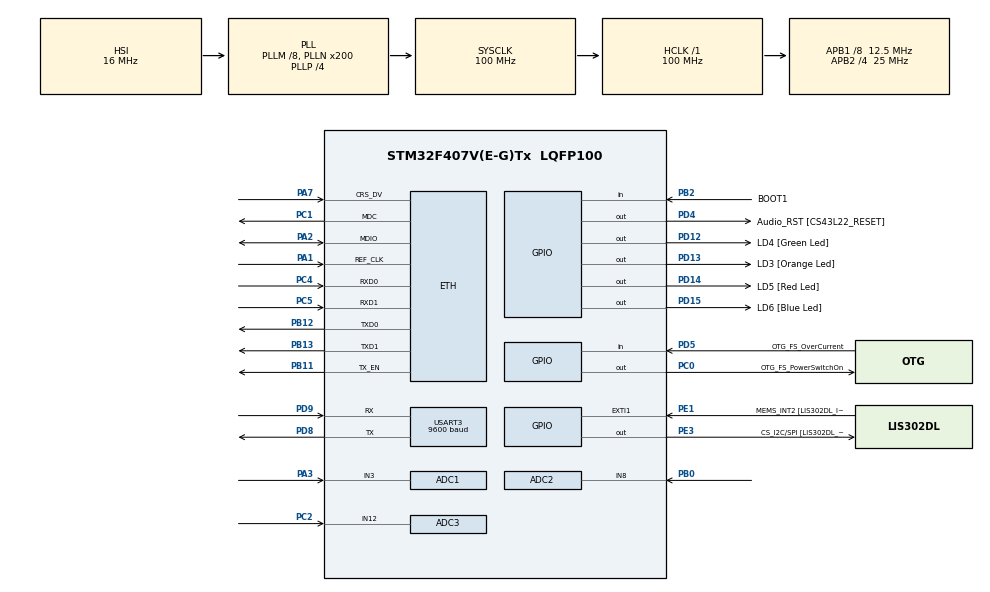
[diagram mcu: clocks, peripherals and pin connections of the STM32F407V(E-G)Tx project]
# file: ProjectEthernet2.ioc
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ADC1.Channel-0\#ChannelRegularConversion=ADC_CHANNEL_3
ADC1.ClockPrescaler=ADC_CLOCK_SYNC_PCLK_DIV2
ADC1.ContinuousConvMode=ENABLE
ADC1.DMAContinuousRequests=ENABLE
ADC1.DataAlign=ADC_DATAALIGN_RIGHT
ADC1.DiscontinuousConvMode=DISABLE
ADC1.EOCSelection=ADC_EOC_SINGLE_CONV
ADC1.EnableAnalogWatchDog=false
ADC1.ExternalTrigConv=ADC_EXTERNALTRIGCONV_T2_TRGO
ADC1.ExternalTrigConvEdge=ADC_EXTERNALTRIGCONVEDGE_RISING
ADC1.InjNumberOfConversion=0
ADC1.NbrOfConversion=1
ADC1.NbrOfConversionFlag=1
ADC1.Rank-0\#ChannelRegularConversion=1
ADC1.Resolution=ADC_RESOLUTION_12B
ADC1.SamplingTime-0\#ChannelRegularConversion=ADC_SAMPLETIME_480CYCLES
ADC1.ScanConvMode=DISABLE
ADC1.master=1
ADC2.Channel-0\#ChannelRegularConversion=ADC_CHANNEL_8
ADC2.ContinuousConvMode=ENABLE
ADC2.DMAContinuousRequests=ENABLE
ADC2.ExternalTrigConv=ADC_EXTERNALTRIGCONV_T2_TRGO
ADC2.ExternalTrigConvEdge=ADC_EXTERNALTRIGCONVEDGE_RISING
ADC2.NbrOfConversionFlag=1
ADC2.Rank-0\#ChannelRegularConversion=1
ADC2.SamplingTime-0\#ChannelRegularConversion=ADC_SAMPLETIME_480CYCLES
ADC3.Channel-0\#ChannelRegularConversion=ADC_CHANNEL_12
ADC3.ContinuousConvMode=ENABLE
ADC3.DMAContinuousRequests=ENABLE
ADC3.ExternalTrigConv=ADC_EXTERNALTRIGCONV_T2_TRGO
ADC3.ExternalTrigConvEdge=ADC_EXTERNALTRIGCONVEDGE_RISING
ADC3.NbrOfConversionFlag=1
ADC3.Rank-0\#ChannelRegularConversion=1
ADC3.SamplingTime-0\#ChannelRegularConversion=ADC_SAMPLETIME_480CYCLES
Dma.ADC1.2.Direction=DMA_PERIPH_TO_MEMORY
Dma.ADC1.2.FIFOMode=DMA_FIFOMODE_DISABLE
Dma.ADC1.2.Instance=DMA2_Stream0
Dma.ADC1.2.MemDataAlignment=DMA_MDATAALIGN_BYTE
Dma.ADC1.2.MemInc=DMA_MINC_ENABLE
Dma.ADC1.2.Mode=DMA_CIRCULAR
Dma.ADC1.2.PeriphDataAlignment=DMA_PDATAALIGN_BYTE
Dma.ADC1.2.PeriphInc=DMA_PINC_DISABLE
Dma.ADC1.2.Priority=DMA_PRIORITY_LOW
Dma.ADC2.0.Direction=DMA_PERIPH_TO_MEMORY
Dma.ADC2.0.FIFOMode=DMA_FIFOMODE_DISABLE
Dma.ADC2.0.Instance=DMA2_Stream2
Dma.ADC2.0.MemDataAlignment=DMA_MDATAALIGN_BYTE
Dma.ADC2.0.MemInc=DMA_MINC_ENABLE
Dma.ADC2.0.Mode=DMA_CIRCULAR
Dma.ADC2.0.PeriphDataAlignment=DMA_PDATAALIGN_BYTE
Dma.ADC2.0.PeriphInc=DMA_PINC_DISABLE
Dma.ADC2.0.Priority=DMA_PRIORITY_LOW
Dma.ADC3.1.Direction=DMA_PERIPH_TO_MEMORY
Dma.ADC3.1.FIFOMode=DMA_FIFOMODE_DISABLE
Dma.ADC3.1.Instance=DMA2_Stream1
Dma.ADC3.1.MemDataAlignment=DMA_MDATAALIGN_BYTE
Dma.ADC3.1.MemInc=DMA_MINC_ENABLE
Dma.ADC3.1.Mode=DMA_CIRCULAR
Dma.ADC3.1.PeriphDataAlignment=DMA_PDATAALIGN_BYTE
Dma.ADC3.1.PeriphInc=DMA_PINC_DISABLE
Dma.ADC3.1.Priority=DMA_PRIORITY_LOW
Dma.Request0=ADC2
Dma.Request1=ADC3
Dma.Request2=ADC1
ETH.MediaInterface=ETH_MEDIA_INTERFACE_RMII
LWIP.IP_ADDRESS=192.168.001.106
LWIP.LWIP_SOCKET=0
LWIP.Version=v1.5.0_RC0_20160211_Cube
Mcu.Family=STM32F4
Mcu.Name=STM32F407V(E-G)Tx
Mcu.Package=LQFP100
NVIC.DMA2_Stream0_IRQn=true\:0\:0\:false\:false\:true
NVIC.DMA2_Stream1_IRQn=true\:0\:0\:false\:false\:true
NVIC.DMA2_Stream2_IRQn=true\:0\:0\:false\:false\:true
NVIC.ETH_IRQn=true\:0\:0\:false\:false\:true
NVIC.PriorityGroup=NVIC_PRIORITYGROUP_4
NVIC.TIM1_UP_TIM10_IRQn=true\:0\:0\:false\:false\:true
NVIC.TimeBase=TIM1_UP_TIM10_IRQn
NVIC.TimeBaseIP=TIM1
PA0-WKUP.Signal=ETH_CRS
PA1.Mode=RMII
PA1.Signal=ETH_REF_CLK
PA10.GPIO_Label=OTG_FS_ID
PA10.GPIO_Mode=GPIO_MODE_AF_PP
PA10.GPIO_PuPd=GPIO_NOPULL
PA10.GPIO_Speed=GPIO_SPEED_FREQ_LOW
PA10.Signal=USB_OTG_FS_ID
PA11.GPIO_Label=OTG_FS_DM
PA11.GPIO_Mode=GPIO_MODE_AF_PP
PA11.GPIO_PuPd=GPIO_NOPULL
PA11.GPIO_Speed=GPIO_SPEED_FREQ_LOW
PA11.Signal=USB_OTG_FS_DM
PA12.GPIO_Label=OTG_FS_DP
PA12.GPIO_Mode=GPIO_MODE_AF_PP
PA12.GPIO_PuPd=GPIO_NOPULL
PA12.GPIO_Speed=GPIO_SPEED_FREQ_LOW
PA12.Signal=USB_OTG_FS_DP
PA13.GPIO_Label=SWDIO
PA13.Mode=Serial_Wire
PA13.Signal=SYS_JTMS-SWDIO
PA14.GPIO_Label=SWCLK
PA14.Mode=Serial_Wire
PA14.Signal=SYS_JTCK-SWCLK
PA2.Mode=RMII
PA2.Signal=ETH_MDIO
PA3.Signal=ADCx_IN3
PA4.GPIO_Label=I2S3_WS [CS43L22_LRCK]
PA4.GPIO_Mode=GPIO_MODE_AF_PP
PA4.GPIO_PuPd=GPIO_NOPULL
PA4.GPIO_Speed=GPIO_SPEED_FREQ_LOW
PA4.Signal=I2S3_WS
PA5.GPIO_Label=SPI1_SCK [LIS302DL_SCL/SPC]
PA5.GPIO_Mode=GPIO_MODE_AF_PP
PA5.GPIO_PuPd=GPIO_NOPULL
PA5.GPIO_Speed=GPIO_SPEED_FREQ_LOW
PA5.Signal=SPI1_SCK
PA6.GPIO_Label=SPI1_MISO [LIS302DL_SDO]
PA6.GPIO_Mode=GPIO_MODE_AF_PP
PA6.GPIO_PuPd=GPIO_NOPULL
PA6.GPIO_Speed=GPIO_SPEED_FREQ_LOW
PA6.Signal=SPI1_MISO
PA7.Mode=RMII
PA7.Signal=ETH_CRS_DV
PA9.GPIO_Label=VBUS_FS
PA9.GPIO_Mode=GPIO_MODE_INPUT
PA9.GPIO_PuPd=GPIO_NOPULL
PA9.Signal=USB_OTG_FS_VBUS
PB0.Signal=ADCx_IN8
PB10.GPIO_Label=CLK_IN [MP45DT02_CLK]
PB10.GPIO_Mode=GPIO_MODE_AF_PP
PB10.GPIO_PuPd=GPIO_NOPULL
PB10.GPIO_Speed=GPIO_SPEED_FREQ_LOW
PB10.Signal=I2S2_CK
PB11.Mode=RMII
PB11.Signal=ETH_TX_EN
PB12.Mode=RMII
PB12.Signal=ETH_TXD0
PB13.Mode=RMII
PB13.Signal=ETH_TXD1
PB2.GPIO_Label=BOOT1
PB2.GPIO_Mode=GPIO_MODE_INPUT
PB2.GPIO_PuPd=GPIO_NOPULL
PB2.Signal=GPIO_Input
PB3.GPIO_Label=SWO
PB3.Signal=SYS_JTDO-SWO
PB6.GPIO_Label=Audio_SCL [CS43L22_SCL]
PB6.GPIO_Mode=GPIO_MODE_AF_OD
PB6.GPIO_PuPd=GPIO_NOPULL
PB6.GPIO_Speed=GPIO_SPEED_FREQ_LOW
PB6.Signal=I2C1_SCL
PB9.GPIO_Label=Audio_SDA [CS43L22_SDA]
PB9.GPIO_Mode=GPIO_MODE_AF_OD
PB9.GPIO_PuPd=GPIO_NOPULL
PB9.GPIO_Speed=GPIO_SPEED_FREQ_LOW
PB9.Signal=I2C1_SDA
PC0.GPIO_Label=OTG_FS_PowerSwitchOn
PC0.GPIO_PuPd=GPIO_NOPULL
PC0.GPIO_Speed=GPIO_SPEED_FREQ_LOW
PC0.Signal=GPIO_Output
PC1.Mode=RMII
PC1.Signal=ETH_MDC
PC10.GPIO_Label=I2S3_SCK [CS43L22_SCLK]
PC10.GPIO_Mode=GPIO_MODE_AF_PP
PC10.GPIO_PuPd=GPIO_NOPULL
PC10.GPIO_Speed=GPIO_SPEED_FREQ_LOW
PC10.Signal=I2S3_CK
PC12.GPIO_Label=I2S3_SD [CS43L22_SDIN]
PC12.GPIO_Mode=GPIO_MODE_AF_PP
PC12.GPIO_PuPd=GPIO_NOPULL
PC12.GPIO_Speed=GPIO_SPEED_FREQ_LOW
PC12.Signal=I2S3_SD
PC14-OSC32_IN.GPIO_Label=PC14-OSC32_IN
PC14-OSC32_IN.Signal=RCC_OSC32_IN
PC15-OSC32_OUT.GPIO_Label=PC15-OSC32_OUT
PC15-OSC32_OUT.Signal=RCC_OSC32_OUT
PC2.Signal=ADCx_IN12
PC3.Signal=ETH_TX_CLK
PC4.Mode=RMII
PC4.Signal=ETH_RXD0
PC5.Mode=RMII
PC5.Signal=ETH_RXD1
PC7.GPIO_Label=I2S3_MCK [CS43L22_MCLK]
PC7.GPIO_Mode=GPIO_MODE_AF_PP
PC7.GPIO_PuPd=GPIO_NOPULL
PC7.GPIO_Speed=GPIO_SPEED_FREQ_LOW
PC7.Signal=I2S3_MCK
PD12.GPIO_Label=LD4 [Green Led]
PD12.GPIO_PuPd=GPIO_NOPULL
PD12.GPIO_Speed=GPIO_SPEED_FREQ_LOW
PD12.Signal=GPIO_Output
PD13.GPIO_Label=LD3 [Orange Led]
PD13.GPIO_PuPd=GPIO_NOPULL
PD13.GPIO_Speed=GPIO_SPEED_FREQ_LOW
PD13.Signal=GPIO_Output
PD14.GPIO_Label=LD5 [Red Led]
PD14.GPIO_PuPd=GPIO_NOPULL
PD14.GPIO_Speed=GPIO_SPEED_FREQ_LOW
PD14.Signal=GPIO_Output
PD15.GPIO_Label=LD6 [Blue Led]
PD15.GPIO_PuPd=GPIO_NOPULL
PD15.GPIO_Speed=GPIO_SPEED_FREQ_LOW
PD15.Signal=GPIO_Output
PD4.GPIO_Label=Audio_RST [CS43L22_RESET]
PD4.GPIO_PuPd=GPIO_NOPULL
PD4.GPIO_Speed=GPIO_SPEED_FREQ_LOW
PD4.Signal=GPIO_Output
PD5.GPIO_Label=OTG_FS_OverCurrent
PD5.GPIO_Mode=GPIO_MODE_INPUT
PD5.GPIO_PuPd=GPIO_NOPULL
PD5.Signal=GPIO_Input
PD8.Mode=Asynchronous
PD8.Signal=USART3_TX
PD9.Mode=Asynchronous
PD9.Signal=USART3_RX
PE1.GPIO_Label=MEMS_INT2 [LIS302DL_INT2]
PE1.GPIO_ModeDefaultEXTI=GPIO_MODE_EVT_RISING
PE1.GPIO_PuPd=GPIO_NOPULL
PE1.Signal=GPXTI1
PE3.GPIO_Label=CS_I2C/SPI [LIS302DL_CS_I2C/SPI]
PE3.GPIO_PuPd=GPIO_NOPULL
PE3.GPIO_Speed=GPIO_SPEED_FREQ_LOW
PE3.Signal=GPIO_Output
PH0-OSC_IN.GPIO_Label=PH0-OSC_IN
PH0-OSC_IN.Signal=RCC_OSC_IN
PH1-OSC_OUT.GPIO_Label=PH1-OSC_OUT
PH1-OSC_OUT.Signal=RCC_OSC_OUT
ProjectManager.HeapSize=0x200
ProjectManager.StackSize=0x400
ProjectManager.TargetToolchain=MDK-ARM V5
RCC.48MHZClocksFreq_Value=57142857.14285714
RCC.AHBFreq_Value=100000000
RCC.APB1CLKDivider=RCC_HCLK_DIV8
RCC.APB1Freq_Value=12500000
RCC.APB1TimFreq_Value=25000000
RCC.APB2CLKDivider=RCC_HCLK_DIV4
RCC.APB2Freq_Value=25000000
RCC.APB2TimFreq_Value=50000000
RCC.CortexFreq_Value=100000000
RCC.HCLKFreq_Value=100000000
RCC.HSE_VALUE=8000000
RCC.HSI_VALUE=16000000
RCC.LSE_VALUE=32768
RCC.PLLM=8
RCC.PLLN=200
RCC.PLLP=RCC_PLLP_DIV4
RCC.PLLQ=7
RCC.SYSCLKFreq_VALUE=100000000
RCC.SYSCLKSource=RCC_SYSCLKSOURCE_PLLCLK
RCC.VCOOutputFreq_Value=400000000
SH.ADCx_IN12.0=ADC3_IN12,IN12
SH.ADCx_IN3.0=ADC1_IN3,IN3
SH.ADCx_IN8.0=ADC2_IN8,IN8
TIM2.Period=567
TIM2.Prescaler=0
USART3.BaudRate=9600
VP_LWIP_VS_Enabled.Mode=Enabled
VP_SYS_VS_tim1.Mode=TIM1
VP_TIM2_VS_ClockSourceINT.Mode=Internal
board=STM32F4DISCOVERY

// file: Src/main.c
/**
  ******************************************************************************
  * File Name          : main.c
  * Description        : Main program body
  ******************************************************************************
  *
  * COPYRIGHT(c) 2016 STMicroelectronics
  *
  * Redistribution and use in source and binary forms, with or without modification,
  * are permitted provided that the following conditions are met:
  *   1. Redistributions of source code must retain the above copyright notice,
  *      this list of conditions and the following disclaimer.
  *   2. Redistributions in binary form must reproduce the above copyright notice,
  *      this list of conditions and the following disclaimer in the documentation
  *      and/or other materials provided with the distribution.
  *   3. Neither the name of STMicroelectronics nor the names of its contributors
  *      may be used to endorse or promote products derived from this software
  *      without specific prior written permission.
  *
  * THIS SOFTWARE IS PROVIDED BY THE COPYRIGHT HOLDERS AND CONTRIBUTORS "AS IS"
  * AND ANY EXPRESS OR IMPLIED WARRANTIES, INCLUDING, BUT NOT LIMITED TO, THE
  * IMPLIED WARRANTIES OF MERCHANTABILITY AND FITNESS FOR A PARTICULAR PURPOSE ARE
  * DISCLAIMED. IN NO EVENT SHALL THE COPYRIGHT HOLDER OR CONTRIBUTORS BE LIABLE
  * FOR ANY DIRECT, INDIRECT, INCIDENTAL, SPECIAL, EXEMPLARY, OR CONSEQUENTIAL
  * DAMAGES (INCLUDING, BUT NOT LIMITED TO, PROCUREMENT OF SUBSTITUTE GOODS OR
  * SERVICES; LOSS OF USE, DATA, OR PROFITS; OR BUSINESS INTERRUPTION) HOWEVER
  * CAUSED AND ON ANY THEORY OF LIABILITY, WHETHER IN CONTRACT, STRICT LIABILITY,
  * OR TORT (INCLUDING NEGLIGENCE OR OTHERWISE) ARISING IN ANY WAY OUT OF THE USE
  * OF THIS SOFTWARE, EVEN IF ADVISED OF THE POSSIBILITY OF SUCH DAMAGE.
  *
  ******************************************************************************
  */
#include "stm32f4xx_hal.h"
#include "lwip.h"

/* USER CODE BEGIN Includes */
#include "tcp.h"
#include <stdio.h>
#include <stdarg.h>
#include <time.h>
#include <string.h>
#include "ip_addr.h"
#include <time.h>

/* lwIP core includes */
#include "lwip/opt.h"
#include "lwip/init.h"
#include "lwip/tcp.h"

/* lwIP netif includes */
#include "netif/etharp.h"

/* USER CODE END Includes */

ADC_HandleTypeDef hadc1;
ADC_HandleTypeDef hadc2;
ADC_HandleTypeDef hadc3;
DMA_HandleTypeDef hdma_adc1;
DMA_HandleTypeDef hdma_adc2;
DMA_HandleTypeDef hdma_adc3;

TIM_HandleTypeDef htim2;

UART_HandleTypeDef huart3;

/* USER CODE BEGIN PV */
/* Private variables ---------------------------------------------------------*/

#define DEST_IP_ADDR0   192
#define DEST_IP_ADDR1   168
#define DEST_IP_ADDR2   0
#define DEST_IP_ADDR3   11

#define DEST_PORT       7

u8_t  recev_buf[50];
__IO uint32_t message_count=0;

u8_t   data[100];

__IO u8_t Tcp_flag = 0;
struct tcp_pcb *echoclient_pcb;
/* ECHO protocol states */

enum echoclient_states
{
  ES_NOT_CONNECTED = 0,
  ES_CONNECTED,
  ES_RECEIVED,
  ES_CLOSING,
};
struct echoclient
{
  enum echoclient_states state; /* connection status */
  struct tcp_pcb *pcb;          /* pointer on the current tcp_pcb */
  struct pbuf *p_tx;            /* pointer on pbuf to be transmitted */
};

/**/
#define BOARDNAME 1
#define ADC_1 1
#define ADC_2 2
#define ADC_3 3
#define ADC_1_2 4
#define ADC_1_3 5
#define ADC_2_3 6
#define ADC_1_2_3 7
#define SIZEDATA 1024
#define SIZEFRAME 2*SIZEDATA+24

union frame_u {
	struct frame_s {
		uint8_t board;
		uint8_t adc_number;
		uint32_t packet_number;
		uint32_t total_of_packet;
		uint8_t day;
		uint8_t month;
		uint16_t year;
		uint8_t hour;
		uint8_t minutes;
		uint8_t seconds;
		uint8_t miliseconds;
		uint32_t data_lenght;
		uint16_t data[SIZEDATA];
	}frame_as_field;
	char frame_as_byte[SIZEFRAME];
};

	struct DMA_Variables
	{

		uint32_t bufferA[SIZEDATA]; /*!< first buffer */
		uint32_t bufferB[SIZEDATA]; /*!< second buffer */

		uint32_t stateA; /*!< status of buffer A, 0 = empty ; 1 = being used ; 2 = full */
		uint32_t stateB; /*!< status of buffer B, 0 = empty ; 1 = being used ; 2 = full */

		uint8_t *error; /*!< DMA errors */

		uint32_t buffer_switch;

		uint32_t switchADC;

	};
	struct DMA_Variables dma1, dma2, dma3;

	uint32_t error;

/* USER CODE END PV */

void SystemClock_Config(void);
void Error_Handler(void);
static void MX_GPIO_Init(void);
static void MX_DMA_Init(void);
static void MX_ADC1_Init(void);
static void MX_ADC2_Init(void);
static void MX_ADC3_Init(void);
static void MX_TIM2_Init(void);
static void MX_USART3_UART_Init(void);

/* USER CODE BEGIN PFP */
/* Private function prototypes -----------------------------------------------*/

/* USER CODE END PFP */

/* USER CODE BEGIN 0 */

/*Functions for tcp client*/
void tcp_echoclient_connect(void);
static err_t tcp_echoclient_recv(void *arg, struct tcp_pcb *tpcb, struct pbuf *p, err_t err);
static void tcp_echoclient_connection_close(struct tcp_pcb *tpcb, struct echoclient * es);
static err_t tcp_echoclient_poll(void *arg, struct tcp_pcb *tpcb);
static err_t tcp_echoclient_sent(void *arg, struct tcp_pcb *tpcb, u16_t len);
static void tcp_echoclient_send(struct tcp_pcb *tpcb, struct echoclient * es);
static err_t tcp_echoclient_connected(void *arg, struct tcp_pcb *tpcb, err_t err);
//fuction used to format the frame but the date can't be set -> will be set in the server programm
union frame_u formatbuffer(uint8_t boardNumber, uint8_t adcnumber, uint32_t nbPacket, uint32_t numberTotalOfPackets);

/*Functions for the ADCs and the recordings*/
	void send_data(uint32_t adc_values);
	uint8_t *record_adc1(uint32_t buffer_switch);
	uint8_t *record_adc2(uint32_t buffer_switch);
	uint8_t *record_adc3(uint32_t buffer_switch);
/* USER CODE END 0 */

int main(void)
{

  /* MCU Configuration----------------------------------------------------------*/

  /* Reset of all peripherals, Initializes the Flash interface and the Systick. */
  HAL_Init();

  /* Configure the system clock */
  SystemClock_Config();

  /* Initialize all configured peripherals */
  MX_GPIO_Init();
  MX_DMA_Init();
  MX_ADC1_Init();
  MX_ADC2_Init();
  MX_ADC3_Init();
  MX_TIM2_Init();
  MX_USART3_UART_Init();
  MX_LWIP_Init();

  /* USER CODE BEGIN 2 */
	// Initialize DMA buffer switches to 1 to start at the first buffer when the program starts
		dma1.buffer_switch = 1;
		dma2.buffer_switch = 1;
		dma3.buffer_switch = 1;
		dma1.switchADC = 1;
		dma2.switchADC = 1;
		dma3.switchADC = 1;

	tcp_echoclient_connect();
  /* USER CODE END 2 */

  /* Infinite loop */
  while (1)
  {

  }

}

/** System Clock Configuration
*/
void SystemClock_Config(void)
{

  RCC_OscInitTypeDef RCC_OscInitStruct;
  RCC_ClkInitTypeDef RCC_ClkInitStruct;

  __HAL_RCC_PWR_CLK_ENABLE();

  __HAL_PWR_VOLTAGESCALING_CONFIG(PWR_REGULATOR_VOLTAGE_SCALE1);

  RCC_OscInitStruct.OscillatorType = RCC_OSCILLATORTYPE_HSI;
  RCC_OscInitStruct.HSIState = RCC_HSI_ON;
  RCC_OscInitStruct.HSICalibrationValue = 16;
  RCC_OscInitStruct.PLL.PLLState = RCC_PLL_ON;
  RCC_OscInitStruct.PLL.PLLSource = RCC_PLLSOURCE_HSI;
  RCC_OscInitStruct.PLL.PLLM = 8;
  RCC_OscInitStruct.PLL.PLLN = 200;
  RCC_OscInitStruct.PLL.PLLP = RCC_PLLP_DIV4;
  RCC_OscInitStruct.PLL.PLLQ = 7;
  if (HAL_RCC_OscConfig(&RCC_OscInitStruct) != HAL_OK)
  {
    Error_Handler();
  }

  RCC_ClkInitStruct.ClockType = RCC_CLOCKTYPE_HCLK|RCC_CLOCKTYPE_SYSCLK
                              |RCC_CLOCKTYPE_PCLK1|RCC_CLOCKTYPE_PCLK2;
  RCC_ClkInitStruct.SYSCLKSource = RCC_SYSCLKSOURCE_PLLCLK;
  RCC_ClkInitStruct.AHBCLKDivider = RCC_SYSCLK_DIV1;
  RCC_ClkInitStruct.APB1CLKDivider = RCC_HCLK_DIV8;
  RCC_ClkInitStruct.APB2CLKDivider = RCC_HCLK_DIV4;
  if (HAL_RCC_ClockConfig(&RCC_ClkInitStruct, FLASH_LATENCY_3) != HAL_OK)
  {
    Error_Handler();
  }

  HAL_SYSTICK_Config(HAL_RCC_GetHCLKFreq()/1000);

  HAL_SYSTICK_CLKSourceConfig(SYSTICK_CLKSOURCE_HCLK);

  /* SysTick_IRQn interrupt configuration */
  HAL_NVIC_SetPriority(SysTick_IRQn, 0, 0);
}

/* ADC1 init function */
static void MX_ADC1_Init(void)
{

  ADC_ChannelConfTypeDef sConfig;

    /**Configure the global features of the ADC (Clock, Resolution, Data Alignment and number of conversion)
    */
  hadc1.Instance = ADC1;
  hadc1.Init.ClockPrescaler = ADC_CLOCK_SYNC_PCLK_DIV2;
  hadc1.Init.Resolution = ADC_RESOLUTION_12B;
  hadc1.Init.ScanConvMode = DISABLE;
  hadc1.Init.ContinuousConvMode = ENABLE;
  hadc1.Init.DiscontinuousConvMode = DISABLE;
  hadc1.Init.ExternalTrigConvEdge = ADC_EXTERNALTRIGCONVEDGE_RISING;
  hadc1.Init.ExternalTrigConv = ADC_EXTERNALTRIGCONV_T2_TRGO;
  hadc1.Init.DataAlign = ADC_DATAALIGN_RIGHT;
  hadc1.Init.NbrOfConversion = 1;
  hadc1.Init.DMAContinuousRequests = ENABLE;
  hadc1.Init.EOCSelection = ADC_EOC_SINGLE_CONV;
  if (HAL_ADC_Init(&hadc1) != HAL_OK)
  {
    Error_Handler();
  }

    /**Configure for the selected ADC regular channel its corresponding rank in the sequencer and its sample time.
    */
  sConfig.Channel = ADC_CHANNEL_3;
  sConfig.Rank = 1;
  sConfig.SamplingTime = ADC_SAMPLETIME_480CYCLES;
  if (HAL_ADC_ConfigChannel(&hadc1, &sConfig) != HAL_OK)
  {
    Error_Handler();
  }

}

/* ADC2 init function */
static void MX_ADC2_Init(void)
{

  ADC_ChannelConfTypeDef sConfig;

    /**Configure the global features of the ADC (Clock, Resolution, Data Alignment and number of conversion)
    */
  hadc2.Instance = ADC2;
  hadc2.Init.ClockPrescaler = ADC_CLOCK_SYNC_PCLK_DIV2;
  hadc2.Init.Resolution = ADC_RESOLUTION_12B;
  hadc2.Init.ScanConvMode = DISABLE;
  hadc2.Init.ContinuousConvMode = ENABLE;
  hadc2.Init.DiscontinuousConvMode = DISABLE;
  hadc2.Init.ExternalTrigConvEdge = ADC_EXTERNALTRIGCONVEDGE_RISING;
  hadc2.Init.ExternalTrigConv = ADC_EXTERNALTRIGCONV_T2_TRGO;
  hadc2.Init.DataAlign = ADC_DATAALIGN_RIGHT;
  hadc2.Init.NbrOfConversion = 1;
  hadc2.Init.DMAContinuousRequests = ENABLE;
  hadc2.Init.EOCSelection = ADC_EOC_SINGLE_CONV;
  if (HAL_ADC_Init(&hadc2) != HAL_OK)
  {
    Error_Handler();
  }

    /**Configure for the selected ADC regular channel its corresponding rank in the sequencer and its sample time.
    */
  sConfig.Channel = ADC_CHANNEL_8;
  sConfig.Rank = 1;
  sConfig.SamplingTime = ADC_SAMPLETIME_480CYCLES;
  if (HAL_ADC_ConfigChannel(&hadc2, &sConfig) != HAL_OK)
  {
    Error_Handler();
  }

}

/* ADC3 init function */
static void MX_ADC3_Init(void)
{

  ADC_ChannelConfTypeDef sConfig;

    /**Configure the global features of the ADC (Clock, Resolution, Data Alignment and number of conversion)
    */
  hadc3.Instance = ADC3;
  hadc3.Init.ClockPrescaler = ADC_CLOCK_SYNC_PCLK_DIV2;
  hadc3.Init.Resolution = ADC_RESOLUTION_12B;
  hadc3.Init.ScanConvMode = DISABLE;
  hadc3.Init.ContinuousConvMode = ENABLE;
  hadc3.Init.DiscontinuousConvMode = DISABLE;
  hadc3.Init.ExternalTrigConvEdge = ADC_EXTERNALTRIGCONVEDGE_RISING;
  hadc3.Init.ExternalTrigConv = ADC_EXTERNALTRIGCONV_T2_TRGO;
  hadc3.Init.DataAlign = ADC_DATAALIGN_RIGHT;
  hadc3.Init.NbrOfConversion = 1;
  hadc3.Init.DMAContinuousRequests = ENABLE;
  hadc3.Init.EOCSelection = ADC_EOC_SINGLE_CONV;
  if (HAL_ADC_Init(&hadc3) != HAL_OK)
  {
    Error_Handler();
  }

    /**Configure for the selected ADC regular channel its corresponding rank in the sequencer and its sample time.
    */
  sConfig.Channel = ADC_CHANNEL_12;
  sConfig.Rank = 1;
  sConfig.SamplingTime = ADC_SAMPLETIME_480CYCLES;
  if (HAL_ADC_ConfigChannel(&hadc3, &sConfig) != HAL_OK)
  {
    Error_Handler();
  }

}

/* TIM2 init function */
static void MX_TIM2_Init(void)
{

  TIM_ClockConfigTypeDef sClockSourceConfig;
  TIM_MasterConfigTypeDef sMasterConfig;

  htim2.Instance = TIM2;
  htim2.Init.Prescaler = 0;
  htim2.Init.CounterMode = TIM_COUNTERMODE_UP;
  htim2.Init.Period = 567;
  htim2.Init.ClockDivision = TIM_CLOCKDIVISION_DIV1;
  if (HAL_TIM_Base_Init(&htim2) != HAL_OK)
  {
    Error_Handler();
  }

  sClockSourceConfig.ClockSource = TIM_CLOCKSOURCE_INTERNAL;
  if (HAL_TIM_ConfigClockSource(&htim2, &sClockSourceConfig) != HAL_OK)
  {
    Error_Handler();
  }

  sMasterConfig.MasterOutputTrigger = TIM_TRGO_RESET;
  sMasterConfig.MasterSlaveMode = TIM_MASTERSLAVEMODE_DISABLE;
  if (HAL_TIMEx_MasterConfigSynchronization(&htim2, &sMasterConfig) != HAL_OK)
  {
    Error_Handler();
  }

}

/* USART3 init function */
static void MX_USART3_UART_Init(void)
{

  huart3.Instance = USART3;
  huart3.Init.BaudRate = 9600;
  huart3.Init.WordLength = UART_WORDLENGTH_8B;
  huart3.Init.StopBits = UART_STOPBITS_1;
  huart3.Init.Parity = UART_PARITY_NONE;
  huart3.Init.Mode = UART_MODE_TX_RX;
  huart3.Init.HwFlowCtl = UART_HWCONTROL_NONE;
  huart3.Init.OverSampling = UART_OVERSAMPLING_16;
  if (HAL_UART_Init(&huart3) != HAL_OK)
  {
    Error_Handler();
  }

}

static void MX_DMA_Init(void)
{
  /* DMA controller clock enable */
  __HAL_RCC_DMA2_CLK_ENABLE();

  /* DMA interrupt init */
  /* DMA2_Stream0_IRQn interrupt configuration */
  HAL_NVIC_SetPriority(DMA2_Stream0_IRQn, 0, 0);
  HAL_NVIC_EnableIRQ(DMA2_Stream0_IRQn);
  /* DMA2_Stream1_IRQn interrupt configuration */
  HAL_NVIC_SetPriority(DMA2_Stream1_IRQn, 0, 0);
  HAL_NVIC_EnableIRQ(DMA2_Stream1_IRQn);
  /* DMA2_Stream2_IRQn interrupt configuration */
  HAL_NVIC_SetPriority(DMA2_Stream2_IRQn, 0, 0);
  HAL_NVIC_EnableIRQ(DMA2_Stream2_IRQn);

}

/** Configure pins as
        * Analog
        * Input
        * Output
        * EVENT_OUT
        * EXTI
     PA4   ------> I2S3_WS
     PA5   ------> SPI1_SCK
     PA6   ------> SPI1_MISO
     PB10   ------> I2S2_CK
     PC7   ------> I2S3_MCK
     PA9   ------> USB_OTG_FS_VBUS
     PA10   ------> USB_OTG_FS_ID
     PA11   ------> USB_OTG_FS_DM
     PA12   ------> USB_OTG_FS_DP
     PC10   ------> I2S3_CK
     PC12   ------> I2S3_SD
     PB6   ------> I2C1_SCL
     PB9   ------> I2C1_SDA
*/
static void MX_GPIO_Init(void)
{

  GPIO_InitTypeDef GPIO_InitStruct;

  /* GPIO Ports Clock Enable */
  __HAL_RCC_GPIOE_CLK_ENABLE();
  __HAL_RCC_GPIOC_CLK_ENABLE();
  __HAL_RCC_GPIOH_CLK_ENABLE();
  __HAL_RCC_GPIOA_CLK_ENABLE();
  __HAL_RCC_GPIOB_CLK_ENABLE();
  __HAL_RCC_GPIOD_CLK_ENABLE();

  /*Configure GPIO pin Output Level */
  HAL_GPIO_WritePin(CS_I2C_SPI_GPIO_Port, CS_I2C_SPI_Pin, GPIO_PIN_RESET);

  /*Configure GPIO pin Output Level */
  HAL_GPIO_WritePin(OTG_FS_PowerSwitchOn_GPIO_Port, OTG_FS_PowerSwitchOn_Pin, GPIO_PIN_RESET);

  /*Configure GPIO pin Output Level */
  HAL_GPIO_WritePin(GPIOD, LD4_Pin|LD3_Pin|LD5_Pin|LD6_Pin
                          |Audio_RST_Pin, GPIO_PIN_RESET);

  /*Configure GPIO pin : CS_I2C_SPI_Pin */
  GPIO_InitStruct.Pin = CS_I2C_SPI_Pin;
  GPIO_InitStruct.Mode = GPIO_MODE_OUTPUT_PP;
  GPIO_InitStruct.Pull = GPIO_NOPULL;
  GPIO_InitStruct.Speed = GPIO_SPEED_FREQ_LOW;
  HAL_GPIO_Init(CS_I2C_SPI_GPIO_Port, &GPIO_InitStruct);

  /*Configure GPIO pin : OTG_FS_PowerSwitchOn_Pin */
  GPIO_InitStruct.Pin = OTG_FS_PowerSwitchOn_Pin;
  GPIO_InitStruct.Mode = GPIO_MODE_OUTPUT_PP;
  GPIO_InitStruct.Pull = GPIO_NOPULL;
  GPIO_InitStruct.Speed = GPIO_SPEED_FREQ_LOW;
  HAL_GPIO_Init(OTG_FS_PowerSwitchOn_GPIO_Port, &GPIO_InitStruct);

  /*Configure GPIO pin : PA4 */
  GPIO_InitStruct.Pin = GPIO_PIN_4;
  GPIO_InitStruct.Mode = GPIO_MODE_AF_PP;
  GPIO_InitStruct.Pull = GPIO_NOPULL;
  GPIO_InitStruct.Speed = GPIO_SPEED_FREQ_LOW;
  GPIO_InitStruct.Alternate = GPIO_AF6_SPI3;
  HAL_GPIO_Init(GPIOA, &GPIO_InitStruct);

  /*Configure GPIO pins : PA5 PA6 */
  GPIO_InitStruct.Pin = GPIO_PIN_5|GPIO_PIN_6;
  GPIO_InitStruct.Mode = GPIO_MODE_AF_PP;
  GPIO_InitStruct.Pull = GPIO_NOPULL;
  GPIO_InitStruct.Speed = GPIO_SPEED_FREQ_LOW;
  GPIO_InitStruct.Alternate = GPIO_AF5_SPI1;
  HAL_GPIO_Init(GPIOA, &GPIO_InitStruct);

  /*Configure GPIO pin : BOOT1_Pin */
  GPIO_InitStruct.Pin = BOOT1_Pin;
  GPIO_InitStruct.Mode = GPIO_MODE_INPUT;
  GPIO_InitStruct.Pull = GPIO_NOPULL;
  HAL_GPIO_Init(BOOT1_GPIO_Port, &GPIO_InitStruct);

  /*Configure GPIO pin : CLK_IN_Pin */
  GPIO_InitStruct.Pin = CLK_IN_Pin;
  GPIO_InitStruct.Mode = GPIO_MODE_AF_PP;
  GPIO_InitStruct.Pull = GPIO_NOPULL;
  GPIO_InitStruct.Speed = GPIO_SPEED_FREQ_LOW;
  GPIO_InitStruct.Alternate = GPIO_AF5_SPI2;
  HAL_GPIO_Init(CLK_IN_GPIO_Port, &GPIO_InitStruct);

  /*Configure GPIO pins : LD4_Pin LD3_Pin LD5_Pin LD6_Pin
                           Audio_RST_Pin */
  GPIO_InitStruct.Pin = LD4_Pin|LD3_Pin|LD5_Pin|LD6_Pin
                          |Audio_RST_Pin;
  GPIO_InitStruct.Mode = GPIO_MODE_OUTPUT_PP;
  GPIO_InitStruct.Pull = GPIO_NOPULL;
  GPIO_InitStruct.Speed = GPIO_SPEED_FREQ_LOW;
  HAL_GPIO_Init(GPIOD, &GPIO_InitStruct);

  /*Configure GPIO pins : PC7 I2S3_SCK_Pin PC12 */
  GPIO_InitStruct.Pin = GPIO_PIN_7|I2S3_SCK_Pin|GPIO_PIN_12;
  GPIO_InitStruct.Mode = GPIO_MODE_AF_PP;
  GPIO_InitStruct.Pull = GPIO_NOPULL;
  GPIO_InitStruct.Speed = GPIO_SPEED_FREQ_LOW;
  GPIO_InitStruct.Alternate = GPIO_AF6_SPI3;
  HAL_GPIO_Init(GPIOC, &GPIO_InitStruct);

  /*Configure GPIO pin : VBUS_FS_Pin */
  GPIO_InitStruct.Pin = VBUS_FS_Pin;
  GPIO_InitStruct.Mode = GPIO_MODE_INPUT;
  GPIO_InitStruct.Pull = GPIO_NOPULL;
  HAL_GPIO_Init(VBUS_FS_GPIO_Port, &GPIO_InitStruct);

  /*Configure GPIO pins : OTG_FS_ID_Pin OTG_FS_DM_Pin OTG_FS_DP_Pin */
  GPIO_InitStruct.Pin = OTG_FS_ID_Pin|OTG_FS_DM_Pin|OTG_FS_DP_Pin;
  GPIO_InitStruct.Mode = GPIO_MODE_AF_PP;
  GPIO_InitStruct.Pull = GPIO_NOPULL;
  GPIO_InitStruct.Speed = GPIO_SPEED_FREQ_LOW;
  GPIO_InitStruct.Alternate = GPIO_AF10_OTG_FS;
  HAL_GPIO_Init(GPIOA, &GPIO_InitStruct);

  /*Configure GPIO pin : OTG_FS_OverCurrent_Pin */
  GPIO_InitStruct.Pin = OTG_FS_OverCurrent_Pin;
  GPIO_InitStruct.Mode = GPIO_MODE_INPUT;
  GPIO_InitStruct.Pull = GPIO_NOPULL;
  HAL_GPIO_Init(OTG_FS_OverCurrent_GPIO_Port, &GPIO_InitStruct);

  /*Configure GPIO pins : Audio_SCL_Pin Audio_SDA_Pin */
  GPIO_InitStruct.Pin = Audio_SCL_Pin|Audio_SDA_Pin;
  GPIO_InitStruct.Mode = GPIO_MODE_AF_OD;
  GPIO_InitStruct.Pull = GPIO_PULLUP;
  GPIO_InitStruct.Speed = GPIO_SPEED_FREQ_LOW;
  GPIO_InitStruct.Alternate = GPIO_AF4_I2C1;
  HAL_GPIO_Init(GPIOB, &GPIO_InitStruct);

  /*Configure GPIO pin : MEMS_INT2_Pin */
  GPIO_InitStruct.Pin = MEMS_INT2_Pin;
  GPIO_InitStruct.Mode = GPIO_MODE_EVT_RISING;
  GPIO_InitStruct.Pull = GPIO_NOPULL;
  HAL_GPIO_Init(MEMS_INT2_GPIO_Port, &GPIO_InitStruct);

}

/* USER CODE BEGIN 4 */
/*
**TCP functions
**
**
*/

/**
  * @brief  Connects to the TCP echo server
  * @param  None
  * @retval None
  */
void tcp_echoclient_connect(void)
{
  ip_addr_t DestIPaddr;
  if (Tcp_flag)return;
  /* create new tcp pcb */
  echoclient_pcb = tcp_new();

  if (echoclient_pcb != NULL) {
    Tcp_flag = 1;
    IP4_ADDR( &DestIPaddr, DEST_IP_ADDR0, DEST_IP_ADDR1, DEST_IP_ADDR2, DEST_IP_ADDR3 );

    /* connect to destination address/port */
    tcp_connect(echoclient_pcb,&DestIPaddr,DEST_PORT,tcp_echoclient_connected);
  }
}

/**
  * @brief Function called when TCP connection established
  * @param tpcb: pointer on the connection contol block
  * @param err: when connection correctly established err should be ERR_OK
  * @retval err_t: returned error
  */
static err_t tcp_echoclient_connected(void *arg, struct tcp_pcb *tpcb, err_t err)
{
  struct echoclient *es = NULL;

  if (err == ERR_OK) {
    /* allocate structure es to maintain tcp connection informations */
    es = (struct echoclient *)mem_malloc(sizeof(struct echoclient));

    if (es != NULL) {
      es->state = ES_CONNECTED;
      es->pcb = tpcb;

      sprintf((char*)data, "sending tcp client message %d", message_count);

      /* allocate pbuf */
      es->p_tx = pbuf_alloc(PBUF_TRANSPORT, strlen((char*)data) , PBUF_POOL);

      if (es->p_tx) {
        /* copy data to pbuf */
        pbuf_take(es->p_tx, (char*)data, strlen((char*)data));

        /* pass newly allocated es structure as argument to tpcb */
        tcp_arg(tpcb, es);

        /* initialize LwIP tcp_recv callback function */
        tcp_recv(tpcb, tcp_echoclient_recv);

        /* initialize LwIP tcp_sent callback function */
        tcp_sent(tpcb, tcp_echoclient_sent);

        /* initialize LwIP tcp_poll callback function */
        tcp_poll(tpcb, tcp_echoclient_poll, 1);

        /* send data */
        tcp_echoclient_send(tpcb,es);

        return ERR_OK;
      }
    } else {
      /* close connection */
      tcp_echoclient_connection_close(tpcb, es);

      /* return memory allocation error */
      return ERR_MEM;
    }
  } else {
    /* close connection */
    tcp_echoclient_connection_close(tpcb, es);
  }
  return err;
}

/**
  * @brief tcp_receiv callback
  * @param arg: argument to be passed to receive callback
  * @param tpcb: tcp connection control block
  * @param err: receive error code
  * @retval err_t: retuned error
  */
static err_t tcp_echoclient_recv(void *arg, struct tcp_pcb *tpcb, struct pbuf *p, err_t err)
{
  struct echoclient *es;
  err_t ret_err;

  LWIP_ASSERT("arg != NULL",arg != NULL);

  es = (struct echoclient *)arg;
  Tcp_flag = 0;
  /* if we receive an empty tcp frame from server => close connection */
  if (p == NULL) {
    /* remote host closed connection */
    es->state = ES_CLOSING;
    if (es->p_tx == NULL) {
       /* we're done sending, close connection */
       tcp_echoclient_connection_close(tpcb, es);
    } else {
      /* send remaining data*/
      tcp_echoclient_send(tpcb, es);
    }
    ret_err = ERR_OK;
  }
  /* else : a non empty frame was received from echo server but for some reason err != ERR_OK */
  else if (err != ERR_OK) {
    /* free received pbuf*/
    if (p != NULL) {
      pbuf_free(p);
    }
    ret_err = err;
  } else if(es->state == ES_CONNECTED) {
    /* increment message count */
    message_count++;
    /* Acknowledge data reception */
    tcp_recved(tpcb, p->tot_len);

    pbuf_free(p);
    tcp_echoclient_connection_close(tpcb, es);
    ret_err = ERR_OK;
  }

  /* data received when connection already closed */
  else {
    /* Acknowledge data reception */
    tcp_recved(tpcb, p->tot_len);

    /* free pbuf and do nothing */
    pbuf_free(p);
    ret_err = ERR_OK;
  }
  return ret_err;
}

/**
  * @brief function used to send data
  * @param  tpcb: tcp control block
  * @param  es: pointer on structure of type echoclient containing info on data
  *             to be sent
  * @retval None
  */
static void tcp_echoclient_send(struct tcp_pcb *tpcb, struct echoclient * es)
{
  struct pbuf *ptr;
  err_t wr_err = ERR_OK;

  while ((wr_err == ERR_OK) &&
         (es->p_tx != NULL) &&
         (es->p_tx->len <= tcp_sndbuf(tpcb)))
  {

    /* get pointer on pbuf from es structure */
    ptr = es->p_tx;

    /* enqueue data for transmission */
    wr_err = tcp_write(tpcb, ptr->payload, ptr->len, 1);

    if (wr_err == ERR_OK) {
      /* continue with next pbuf in chain (if any) */
      es->p_tx = ptr->next;

      if (es->p_tx != NULL) {
        /* increment reference count for es->p */
        pbuf_ref(es->p_tx);
      }

      /* free pbuf: will free pbufs up to es->p (because es->p has a reference count > 0) */
      pbuf_free(ptr);
   } else if(wr_err == ERR_MEM) {
      /* we are low on memory, try later, defer to poll */
     es->p_tx = ptr;
   } else {
     /* other problem ?? */
   }
  }
}

/**
  * @brief  This function implements the tcp_poll callback function
  * @param  arg: pointer on argument passed to callback
  * @param  tpcb: tcp connection control block
  * @retval err_t: error code
  */
static err_t tcp_echoclient_poll(void *arg, struct tcp_pcb *tpcb)
{
  err_t ret_err;
  struct echoclient *es;

  es = (struct echoclient*)arg;
  if (es != NULL) {
    if (es->p_tx != NULL) {
      /* there is a remaining pbuf (chain) , try to send data */
      tcp_echoclient_send(tpcb, es);
    } else {
      /* no remaining pbuf (chain)  */
      if (es->state == ES_CLOSING) {
        /* close tcp connection */
        tcp_echoclient_connection_close(tpcb, es);
      }
    }
    ret_err = ERR_OK;
  } else {
    /* nothing to be done */
    tcp_abort(tpcb);
    ret_err = ERR_ABRT;
  }
  return ret_err;
}

/**
  * @brief  This function implements the tcp_sent LwIP callback (called when ACK
  *         is received from remote host for sent data)
  * @param  arg: pointer on argument passed to callback
  * @param  tcp_pcb: tcp connection control block
  * @param  len: length of data sent
  * @retval err_t: returned error code
  */
static err_t tcp_echoclient_sent(void *arg, struct tcp_pcb *tpcb, u16_t len)
{
  struct echoclient *es;

  LWIP_UNUSED_ARG(len);

  es = (struct echoclient *)arg;

  if(es->p_tx != NULL)
  {
    /* still got pbufs to send */
    tcp_echoclient_send(tpcb, es);
  }

  return ERR_OK;
}

/**
  * @brief This function is used to close the tcp connection with server
  * @param tpcb: tcp connection control block
  * @param es: pointer on echoclient structure
  * @retval None
  */
static void tcp_echoclient_connection_close(struct tcp_pcb *tpcb, struct echoclient * es )
{
  /* remove callbacks */
  tcp_recv(tpcb, NULL);
  tcp_sent(tpcb, NULL);
  tcp_poll(tpcb, NULL,0);

  if (es != NULL) {
    mem_free(es);
  }

  /* close tcp connection */
  tcp_close(tpcb);

}

union frame_u formatbuffer(uint8_t boardNumber, uint8_t adcnumber, uint32_t nbPacket, uint32_t numberTotalOfPackets) {
	//SYSTEMTIME t;
	//GetSystemTime(&t);

	union frame_u frame;

	frame.frame_as_field.board = boardNumber;
	frame.frame_as_field.adc_number = adcnumber;
	frame.frame_as_field.packet_number = nbPacket;
	frame.frame_as_field.total_of_packet = numberTotalOfPackets;
	//frame.frame_as_field.day = t.wDay;
	frame.frame_as_field.month = 13;//t.wMonth;
	//frame.frame_as_field.year = t.wYear;
	//frame.frame_as_field.hour = t.wHour;
	//frame.frame_as_field.minutes = t.wMinute;
	//frame.frame_as_field.seconds = t.wSecond;
	//frame.frame_as_field.miliseconds = t.wMilliseconds;
	frame.frame_as_field.data_lenght = SIZEDATA;

	return frame;
}

/*
**Recording functions
**
**
*/

	void send_data(uint32_t adc_values)
	{
	//code to send

	//clear the array
	}

	//recording functions of the ADCs
	/**
	 * @brief record ADC1 signals in the buffers
	 * @param uint_32 the number of the current switch
	 * @retval uint_32 return the error code: 0= no errors; 1= wrong switch number
	 */
	uint8_t *record_adc1(uint32_t buffer_switch)
	{

	// -- Enables ADC1 and starts conversion of the regular channels.
		if (HAL_ADC_Start(&hadc1) != HAL_OK)
			return 0;

		switch (buffer_switch)
		{

		case 1:
			if (HAL_ADC_Start_DMA(&hadc1, (uint32_t*) dma1.bufferA,
			SIZEDATA * 2) != HAL_OK)
				return 0;
			dma1.buffer_switch = 2;
			HAL_GPIO_WritePin(GPIOD, GPIO_PIN_12, GPIO_PIN_SET);
			HAL_GPIO_WritePin(GPIOD, GPIO_PIN_13, GPIO_PIN_RESET);
			//send_data(dma1.bufferB);
			dma1.error = 0;
			break;

		case 2:
			if (HAL_ADC_Start_DMA(&hadc1, (uint32_t*) dma1.bufferB,
			SIZEDATA * 2) != HAL_OK)
				return 0;
			HAL_GPIO_WritePin(GPIOD, GPIO_PIN_12, GPIO_PIN_RESET);
			HAL_GPIO_WritePin(GPIOD, GPIO_PIN_13, GPIO_PIN_SET);
			dma1.buffer_switch = 1;

			//send_data(dma1.bufferA);
			dma1.error = 0;
			break;

		default:
			dma1.error = "1";
			break;

		}

		return dma1.error;

	}

	/**
	 * @brief record ADC2 signals in the buffers
	 * @param uint_32 the number of the current switch
	 * @retval uint_32 return the error code: 0= no errors; 1= wrong switch number
	 */
	uint8_t *record_adc2(uint32_t buffer_switch)
	{

	// -- Enables ADC1 and starts conversion of the regular channels.
		if (HAL_ADC_Start(&hadc2) != HAL_OK)
			return 0;

		switch (buffer_switch)
		{

		case 1:
			if (HAL_ADC_Start_DMA(&hadc2, (uint32_t*) dma2.bufferA,
			SIZEDATA * 2) != HAL_OK)
				return 0;
			dma2.buffer_switch = 2;
			//send_data(dma2.bufferB);
			break;

		case 2:
			if (HAL_ADC_Start_DMA(&hadc2, (uint32_t*) dma2.bufferB,
			SIZEDATA * 2) != HAL_OK)
				return 0;
			dma2.buffer_switch = 1;
			//send_data(dma2.bufferA);
			break;

		default:
			dma2.error = "1";
			break;

		}

		return dma2.error;

	}

	/**
	 * @brief record ADC3 signals in the buffers
	 * @param uint_32 the number of the current switch
	 * @retval uint_32 return the error code: 0= no errors; 1= wrong switch number
	 */
	uint8_t *record_adc3(uint32_t buffer_switch)
	{

	// -- Enables ADC1 and starts conversion of the regular channels.
		if (HAL_ADC_Start(&hadc3) != HAL_OK)
			return 0;

		switch (buffer_switch)
		{

		case 1:
			if (HAL_ADC_Start_DMA(&hadc3, (uint32_t*) dma3.bufferA,
			SIZEDATA * 2) != HAL_OK)
				return 0;
			dma3.buffer_switch = 2;
			//send_data(dma3.bufferB);

			break;

		case 2:
			if (HAL_ADC_Start_DMA(&hadc3, (uint32_t*) dma3.bufferB,
			SIZEDATA * 2) != HAL_OK)
				return 0;
			dma3.buffer_switch = 1;
			//send_data(dma3.bufferA);

			break;

		default:
			dma3.error = "1";
			break;

		}

		return dma3.error;

	}

/* USER CODE END 4 */

void HAL_TIM_PeriodElapsedCallback(TIM_HandleTypeDef *htim)
{
  if (htim->Instance == TIM1) {
    HAL_IncTick();
  }
}

void Error_Handler(void)
{
  while(1)
  {
  }
}

/************************ (C) COPYRIGHT STMicroelectronics *****END OF FILE****/
